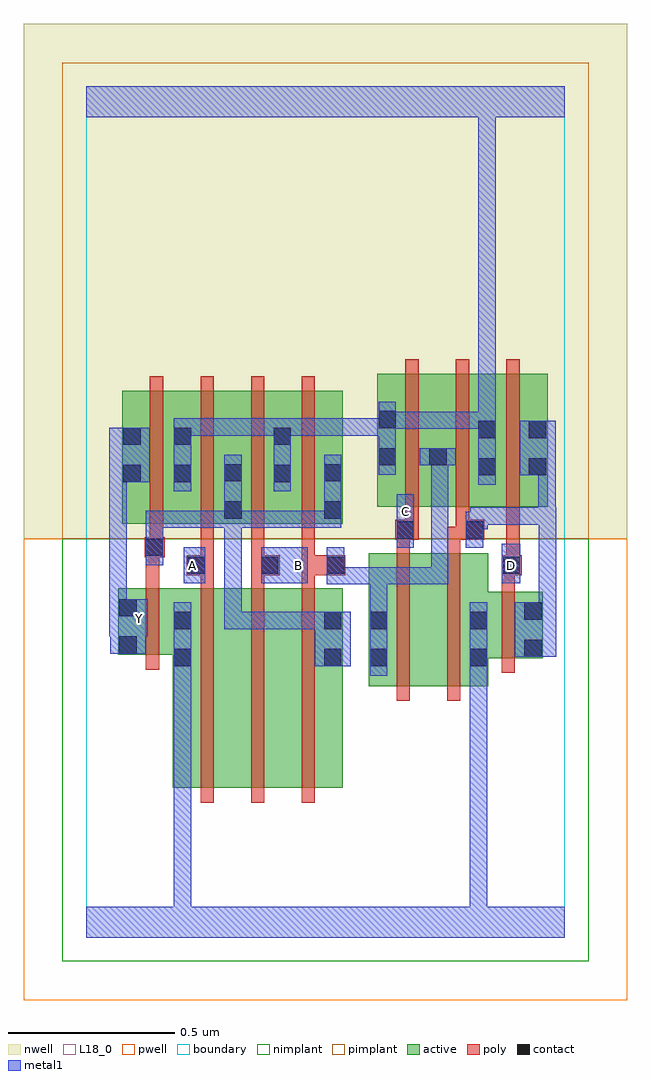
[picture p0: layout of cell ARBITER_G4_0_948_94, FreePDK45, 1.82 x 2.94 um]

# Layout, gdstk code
import gdstk
lib = gdstk.Library(unit=1e-6, precision=1e-09)
def R(c, l, rs):  # rectangles x0, y0, x1, y1
    for r in rs: c.add(gdstk.rectangle(r[:2], r[2:], *l))
def A(c, l, x, y, w, h, nx, ny, dx, dy):  # array of equal rectangles
    R(c, l, [(x+i*dx, y+j*dy, x+i*dx+w, y+j*dy+h) for i in range(nx) for j in range(ny)])
active = (1, 0)
pwell = (2, 0)
nwell = (3, 0)
nimplant = (4, 0)
pimplant = (5, 0)
poly = (9, 0)
contact = (10, 0)
metal1 = (11, 0)
L18_0 = (18, 0)
boundary = (235, 0)

arbiter_g4_0_948_94 = lib.new_cell('ARBITER_G4_0_948_94')
A(arbiter_g4_0_948_94, active, 0.108, 1.244, 0.06, 0.4, 3, 1, 0.152, 0)
R(arbiter_g4_0_948_94, active, [(0.26,0.45,0.44,1.05), (0.44,0.45,0.592,1.05), (0.592,0.45,0.772,1.05), (0.712,0.556,0.772,1.05), (0.85,0.756,1.03,1.156), (0.85,0.756,0.91,1.156), (1.03,0.756,1.21,1.156), (1.15,0.756,1.21,0.984), (0.26,0.812,0.32,1.026), (1.15,0.84,1.374,1.04), (1.314,0.84,1.374,1.04), (0.096,0.85,0.156,1.05), (0.096,0.85,0.32,1.05), (0.108,1.244,0.32,1.644), (0.26,1.244,0.472,1.644), (0.412,1.244,0.62,1.644), (0.56,1.244,0.62,1.644), (0.56,1.244,0.772,1.644), (0.712,1.244,0.772,1.644), (0.876,1.296,1.088,1.696), (0.876,1.296,0.936,1.644), (1.028,1.296,1.236,1.696), (1.176,1.296,1.236,1.696), (1.176,1.296,1.388,1.696), (1.328,1.296,1.388,1.696), (1.028,1.416,1.088,1.644)])
R(arbiter_g4_0_948_94, pwell, [(-0.188,-0.188,1.628,1.2)])
R(arbiter_g4_0_948_94, nwell, [(-0.188,1.2,1.628,2.748)])
R(arbiter_g4_0_948_94, nimplant, [(-0.072,-0.072,1.512,1.2)])
R(arbiter_g4_0_948_94, pimplant, [(-0.072,1.2,1.512,2.632)])
A(arbiter_g4_0_948_94, poly, 0.344, 0.406, 0.04, 0.688, 3, 1, 0.152, 0)
A(arbiter_g4_0_948_94, poly, 0.344, 1.054, 0.04, 0.076, 3, 1, 0.152, 0)
A(arbiter_g4_0_948_94, poly, 0.344, 1.11, 0.04, 0.13, 3, 1, 0.152, 0)
A(arbiter_g4_0_948_94, poly, 0.192, 1.2, 0.04, 0.488, 4, 1, 0.152, 0)
A(arbiter_g4_0_948_94, poly, 0.96, 1.252, 0.04, 0.488, 3, 1, 0.152, 0)
R(arbiter_g4_0_948_94, poly, [(0.934,0.712,0.974,1.2), (1.086,0.712,1.126,1.2), (1.25,0.796,1.29,1.084), (0.18,0.806,0.22,1.094), (1.25,1.044,1.29,1.13), (0.18,1.054,0.22,1.184), (0.302,1.09,0.384,1.15), (0.496,1.09,0.536,1.13), (0.496,1.09,0.536,1.13), (0.496,1.09,0.582,1.15), (0.648,1.09,0.78,1.15), (1.25,1.09,1.31,1.15), (0.344,1.11,0.384,1.15), (0.344,1.11,0.384,1.15), (0.648,1.11,0.688,1.15), (0.648,1.11,0.688,1.15), (1.264,1.11,1.304,1.292), (1.264,1.11,1.304,1.15), (1.264,1.11,1.304,1.15), (0.176,1.144,0.236,1.204), (0.18,1.144,0.22,1.184), (0.18,1.144,0.22,1.184), (0.934,1.16,0.974,1.236), (1.086,1.16,1.126,1.236), (0.192,1.164,0.232,1.24), (0.93,1.196,1,1.256), (0.934,1.196,0.974,1.236), (0.934,1.196,0.974,1.236), (1.086,1.196,1.152,1.236), (1.112,1.196,1.152,1.236), (1.112,1.196,1.198,1.256), (0.96,1.216,1,1.292), (1.112,1.216,1.152,1.292)])
R(arbiter_g4_0_948_94, contact, [(0.264,0.816,0.316,0.868), (0.716,0.816,0.768,0.868), (0.854,0.816,0.906,0.868), (1.154,0.816,1.206,0.868), (1.318,0.844,1.37,0.896), (0.1,0.854,0.152,0.906), (0.264,0.928,0.316,0.98), (0.716,0.928,0.768,0.98), (0.854,0.928,0.906,0.98), (1.154,0.928,1.206,0.98), (1.318,0.956,1.37,1.008), (0.1,0.966,0.152,1.018), (0.306,1.094,0.358,1.146), (0.526,1.094,0.578,1.146), (0.724,1.094,0.776,1.146), (1.254,1.094,1.306,1.146), (0.18,1.148,0.232,1.2), (0.934,1.2,0.986,1.252), (1.142,1.2,1.194,1.252), (0.416,1.26,0.468,1.312), (0.716,1.26,0.768,1.312), (0.112,1.37,0.164,1.422), (0.264,1.37,0.316,1.422), (0.564,1.37,0.616,1.422), (0.416,1.372,0.468,1.424), (0.716,1.372,0.768,1.424), (1.18,1.39,1.232,1.442), (1.332,1.39,1.384,1.442), (0.88,1.42,0.932,1.472), (1.032,1.42,1.084,1.472), (0.112,1.482,0.164,1.534), (0.264,1.482,0.316,1.534), (0.564,1.482,0.616,1.534), (1.18,1.502,1.232,1.554), (1.332,1.502,1.384,1.554), (0.88,1.532,0.932,1.584)])
R(arbiter_g4_0_948_94, metal1, [(0,0,1.44,0.092), (0.264,0.04,0.316,0.092), (0.264,0.04,0.316,0.092), (0.264,0.04,0.316,0.84), (1.154,0.04,1.206,0.092), (1.154,0.04,1.206,0.092), (1.154,0.04,1.206,0.092), (1.154,0.04,1.206,0.092), (1.154,0.04,1.206,0.092), (1.154,0.04,1.206,0.092), (1.154,0.04,1.206,0.84), (0.264,0.788,0.316,0.84), (0.264,0.788,0.316,0.84), (0.264,0.788,0.316,0.84), (0.264,0.788,0.316,0.84), (0.264,0.788,0.316,0.84), (0.264,0.788,0.316,0.84), (0.264,0.788,0.316,1.008), (0.854,0.788,0.906,1.008), (1.154,0.788,1.206,0.84), (1.154,0.788,1.206,0.84), (1.154,0.788,1.206,0.84), (1.154,0.788,1.206,0.84), (1.154,0.788,1.206,0.84), (1.154,0.788,1.206,0.84), (1.154,0.788,1.206,1.008), (0.688,0.816,0.796,0.98), (1.29,0.844,1.414,1.008), (0.072,0.854,0.18,1.018), (0.07,0.906,0.186,1.018), (0.416,0.928,0.468,0.98), (0.416,0.928,0.468,0.98), (0.416,0.928,0.468,0.98), (0.416,0.928,0.578,0.98), (0.416,0.928,0.468,1.284), (0.526,0.928,0.578,0.98), (0.526,0.928,0.578,0.98), (0.526,0.928,0.578,0.98), (0.526,0.928,0.74,0.98), (0.688,0.928,0.74,0.98), (0.688,0.928,0.74,0.98), (0.116,0.934,0.168,0.986), (0.854,0.956,0.906,1.114), (1.362,0.956,1.414,1.294), (0.07,0.966,0.122,1.422), (0.724,1.062,0.906,1.114), (0.724,1.062,0.776,1.118), (0.854,1.062,0.906,1.114), (0.854,1.062,0.906,1.114), (0.854,1.062,0.906,1.114), (0.854,1.062,1.09,1.114), (1.038,1.062,1.09,1.114), (1.038,1.062,1.09,1.114), (1.038,1.062,1.09,1.114), (1.038,1.062,1.09,1.472), (0.294,1.066,0.358,1.174), (0.526,1.066,0.666,1.174), (0.724,1.066,0.776,1.118), (0.724,1.066,0.776,1.174), (1.25,1.066,1.306,1.184), (0.18,1.12,0.232,1.228), (0.934,1.172,0.986,1.334), (1.142,1.172,1.194,1.28), (0.18,1.176,0.232,1.228), (0.18,1.176,0.232,1.284), (1.142,1.228,1.208,1.28), (1.156,1.228,1.208,1.294), (0.18,1.232,0.468,1.284), (0.416,1.232,0.468,1.284), (0.416,1.232,0.468,1.284), (0.416,1.232,0.468,1.284), (0.416,1.232,0.468,1.284), (0.416,1.232,0.468,1.452), (0.416,1.232,0.63,1.284), (0.578,1.232,0.63,1.284), (0.578,1.232,0.63,1.284), (0.578,1.232,0.63,1.284), (0.578,1.232,0.768,1.284), (0.716,1.232,0.768,1.284), (0.716,1.232,0.768,1.284), (0.716,1.232,0.768,1.452), (1.156,1.242,1.412,1.294), (1.36,1.242,1.412,1.442), (1.36,1.242,1.412,1.294), (1.36,1.242,1.412,1.294), (1.36,1.242,1.414,1.294), (1.362,1.242,1.414,1.294), (1.362,1.242,1.414,1.294), (0.264,1.342,0.316,1.562), (0.564,1.342,0.616,1.562), (1.18,1.362,1.232,1.582), (0.07,1.37,0.122,1.422), (0.07,1.37,0.122,1.422), (0.07,1.37,0.192,1.534), (1.304,1.39,1.412,1.554), (0.88,1.392,0.932,1.612), (1.004,1.42,1.112,1.472), (0.264,1.51,0.426,1.562), (0.374,1.51,0.426,1.562), (0.374,1.51,0.426,1.562), (0.374,1.51,0.426,1.562), (0.374,1.51,0.616,1.562), (0.564,1.51,0.616,1.562), (0.564,1.51,0.616,1.562), (0.564,1.51,0.796,1.562), (0.744,1.51,0.796,1.562), (0.744,1.51,0.796,1.562), (0.744,1.51,0.796,1.562), (0.744,1.51,0.932,1.562), (0.88,1.53,0.932,1.582), (0.88,1.53,0.932,1.582), (0.88,1.53,1.096,1.582), (1.044,1.53,1.096,1.582), (1.044,1.53,1.096,1.582), (1.044,1.53,1.096,1.582), (1.044,1.53,1.232,1.582), (1.18,1.53,1.232,1.582), (1.18,1.53,1.232,1.582), (1.18,1.53,1.232,2.52), (0,2.468,1.44,2.56), (1.18,2.468,1.232,2.52), (1.18,2.468,1.232,2.52), (1.18,2.468,1.232,2.52), (1.18,2.468,1.232,2.52), (1.18,2.468,1.232,2.52), (1.18,2.468,1.232,2.52), (1.18,2.468,1.232,2.52), (1.18,2.468,1.232,2.52), (1.18,2.468,1.232,2.52), (1.18,2.468,1.232,2.52), (1.18,2.468,1.232,2.52), (1.18,2.468,1.232,2.52), (1.18,2.468,1.232,2.52), (1.18,2.468,1.232,2.52)])
R(arbiter_g4_0_948_94, L18_0, [(0,0,1.44,0.092), (0.264,0.04,0.316,0.092), (0.264,0.04,0.316,0.092), (0.264,0.04,0.316,0.84), (1.154,0.04,1.206,0.092), (1.154,0.04,1.206,0.092), (1.154,0.04,1.206,0.092), (1.154,0.04,1.206,0.092), (1.154,0.04,1.206,0.092), (1.154,0.04,1.206,0.092), (1.154,0.04,1.206,0.84), (0.264,0.788,0.316,0.84), (0.264,0.788,0.316,0.84), (0.264,0.788,0.316,0.84), (0.264,0.788,0.316,0.84), (0.264,0.788,0.316,0.84), (0.264,0.788,0.316,0.84), (0.264,0.788,0.316,1.008), (1.154,0.788,1.206,0.84), (1.154,0.788,1.206,0.84), (1.154,0.788,1.206,0.84), (1.154,0.788,1.206,0.84), (1.154,0.788,1.206,0.84), (1.154,0.788,1.206,0.84), (1.154,0.788,1.206,1.008), (0.072,0.854,0.18,1.018), (0.07,0.906,0.186,1.018), (0.116,0.934,0.168,0.986), (0.134,0.934,0.186,0.986), (0.07,0.966,0.122,1.422), (0.294,1.066,0.358,1.174), (0.526,1.066,0.666,1.174), (1.25,1.066,1.306,1.184), (0.294,1.094,0.346,1.146), (0.614,1.094,0.666,1.146), (1.254,1.094,1.306,1.146), (0.934,1.172,0.986,1.334), (0.934,1.254,0.986,1.306), (0.264,1.342,0.316,1.562), (0.564,1.342,0.616,1.562), (1.18,1.362,1.232,1.582), (0.07,1.37,0.122,1.422), (0.07,1.37,0.122,1.422), (0.07,1.37,0.192,1.534), (0.88,1.392,0.932,1.612), (0.264,1.51,0.426,1.562), (0.374,1.51,0.426,1.562), (0.374,1.51,0.426,1.562), (0.374,1.51,0.426,1.562), (0.374,1.51,0.616,1.562), (0.564,1.51,0.616,1.562), (0.564,1.51,0.616,1.562), (0.564,1.51,0.796,1.562), (0.744,1.51,0.796,1.562), (0.744,1.51,0.796,1.562), (0.744,1.51,0.796,1.562), (0.744,1.51,0.932,1.562), (0.88,1.53,0.932,1.582), (0.88,1.53,0.932,1.582), (0.88,1.53,1.096,1.582), (1.044,1.53,1.096,1.582), (1.044,1.53,1.096,1.582), (1.044,1.53,1.096,1.582), (1.044,1.53,1.232,1.582), (1.18,1.53,1.232,1.582), (1.18,1.53,1.232,1.582), (1.18,1.53,1.232,2.52), (0,2.468,1.44,2.56), (1.18,2.468,1.232,2.52), (1.18,2.468,1.232,2.52), (1.18,2.468,1.232,2.52), (1.18,2.468,1.232,2.52), (1.18,2.468,1.232,2.52), (1.18,2.468,1.232,2.52), (1.18,2.468,1.232,2.52), (1.18,2.468,1.232,2.52), (1.18,2.468,1.232,2.52), (1.18,2.468,1.232,2.52), (1.18,2.468,1.232,2.52), (1.18,2.468,1.232,2.52), (1.18,2.468,1.232,2.52), (1.18,2.468,1.232,2.52)])
R(arbiter_g4_0_948_94, boundary, [(0,0,1.44,2.56)])
arbiter_g4_0_948_94.add(gdstk.Label('A', (0.32,1.12), layer=11, texttype=0))
arbiter_g4_0_948_94.add(gdstk.Label('B', (0.64,1.12), layer=11, texttype=0))
arbiter_g4_0_948_94.add(gdstk.Label('C', (0.96,1.28), layer=11, texttype=0))
arbiter_g4_0_948_94.add(gdstk.Label('D', (1.28,1.12), layer=11, texttype=0))
arbiter_g4_0_948_94.add(gdstk.Label('Y', (0.16,0.96), layer=11, texttype=0))

lib.write_gds('ARBITER_G4_0_948_94.gds')
